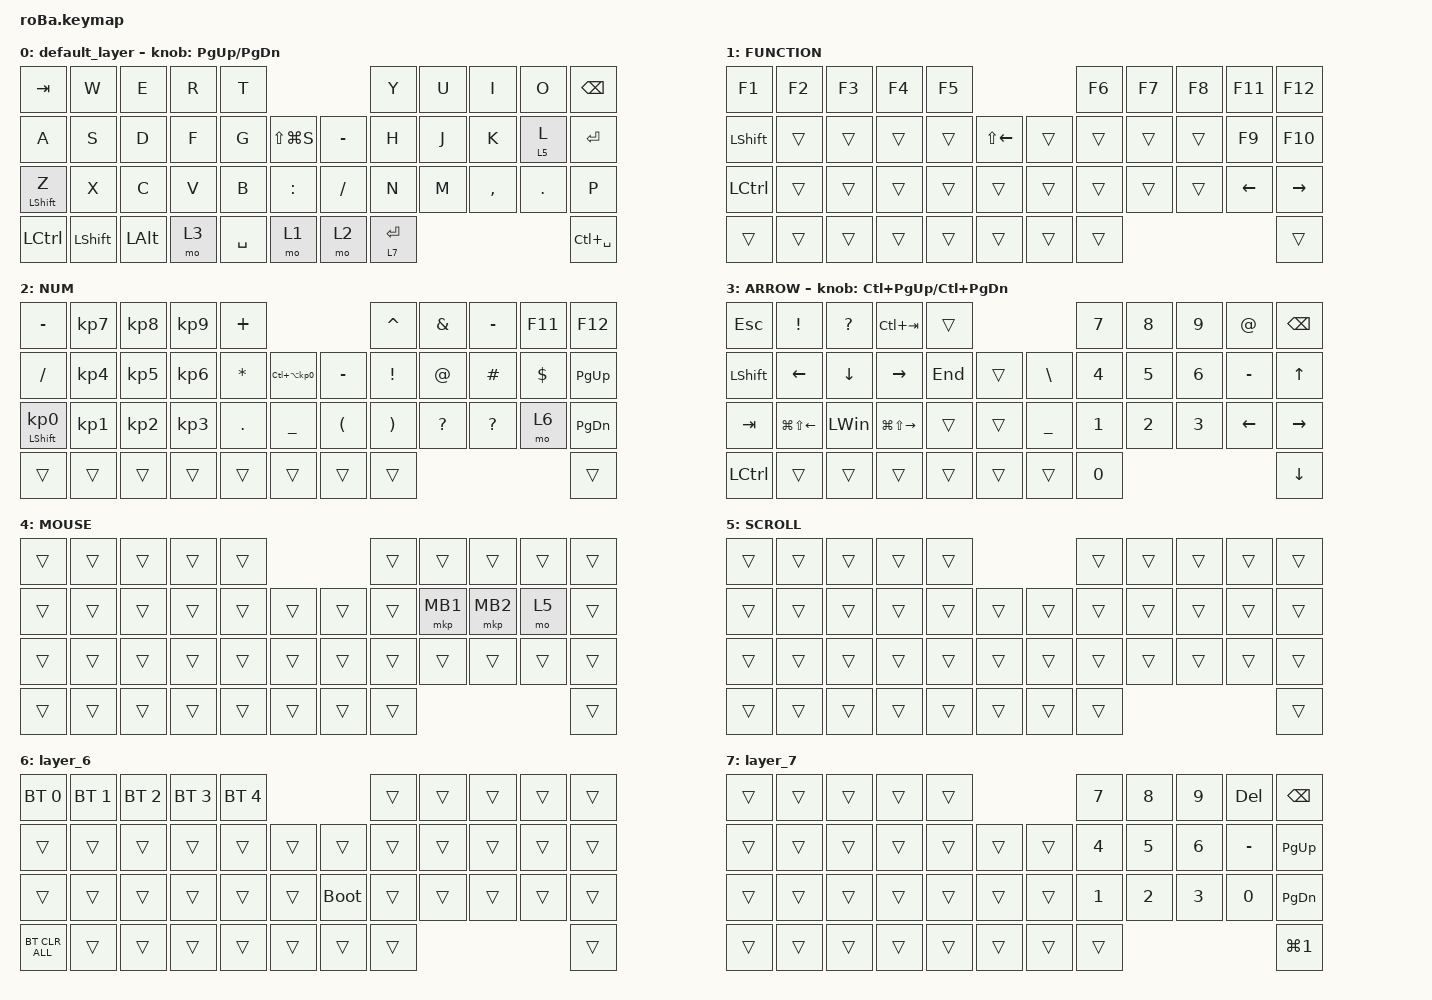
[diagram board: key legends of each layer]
#include <behaviors.dtsi>
#include <dt-bindings/zmk/bt.h>
#include <dt-bindings/zmk/keys.h>
#include <dt-bindings/zmk/pointing.h>

&mt {
    flavor = "balanced";
    quick-tap-ms = <0>;
};

&trackball {
    scroll-layers = <5>;

    // arrows {
    //     layers = <3>;
    //     bindings =
    //         <&kp RIGHT_ARROW>,
    //         <&kp LEFT_ARROW>,
    //         <&kp UP_ARROW>,
    //         <&kp DOWN_ARROW>;
    //     tick = <10>;
    //     wait-ms = <5>;
    //     tap-ms = <5>;
    // };
};

/ {
    combos {
        compatible = "zmk,combos";

        Lcrick {
            bindings = <&mkp MB1>;
            key-positions = <18 19>;
        };

        Rcrick {
            bindings = <&mkp MB2>;
            key-positions = <19 20>;
        };

        space {
            bindings = <&kp SPACE>;
            key-positions = <10 11>;
        };

        F1combo {
            bindings = <&kp F1>;
            key-positions = <12 14>;
        };

        F2combo {
            bindings = <&kp F2>;
            key-positions = <12 26>;
        };

        Pcombo {
            bindings = <&kp P>;
            key-positions = <8 21>;
        };

        qcombo {
            bindings = <&kp Q>;
            key-positions = <1 10>;
        };
    };

    macros {
        to_layer_0: to_layer_0 {
            compatible = "zmk,behavior-macro-one-param";
            #binding-cells = <1>;
            bindings = <&to 0 &macro_param_1to1 &kp MACRO_PLACEHOLDER>;
            label = "TO_LAYER_0";
        };
    };

    behaviors {
        lt_to_layer_0: lt_to_layer_0 {
            compatible = "zmk,behavior-hold-tap";
            label = "LAYER_TAP_TO_0";
            bindings = <&mo>, <&to_layer_0>;

            #binding-cells = <2>;
            tapping-term-ms = <200>;
        };
    };

    keymap {
        compatible = "zmk,keymap";

        default_layer {
            bindings = <
&kp TAB           &kp W           &kp E         &kp R  &kp T                                    &kp Y        &kp U  &kp I      &kp O    &kp BACKSPACE
&kp A             &kp S           &kp D         &kp F  &kp G      &kp LS(LG(S))      &kp MINUS  &kp H        &kp J  &kp K      &lt 5 L  &kp ENTER
&mt LEFT_SHIFT Z  &kp X           &kp C         &kp V  &kp B      &kp COLON          &kp SLASH  &kp N        &kp M  &kp COMMA  &kp DOT  &kp P
&kp LCTRL         &kp LEFT_SHIFT  &kp LEFT_ALT  &mo 3  &kp SPACE  &mo 1              &mo 2      &lt 7 ENTER                             &kp LC(SPACE)
            >;

            sensor-bindings = <&inc_dec_kp PG_UP PAGE_DOWN>;
        };

        FUNCTION {
            bindings = <
&kp F1          &kp F2  &kp F3  &kp F4  &kp F5                                  &kp F6  &kp F7  &kp F8  &kp F11         &kp F12
&kp LEFT_SHIFT  &trans  &trans  &trans  &trans  &kp LS(LEFT_ARROW)      &trans  &trans  &trans  &trans  &kp F9          &kp F10
&kp LCTRL       &trans  &trans  &trans  &trans  &trans                  &trans  &trans  &trans  &trans  &kp LEFT_ARROW  &kp RIGHT
&trans          &trans  &trans  &trans  &trans  &trans                  &trans  &trans                                  &trans
            >;
        };

        NUM {
            bindings = <
&kp MINUS                   &kp KP_NUMBER_7  &kp KP_NUMBER_8  &kp KP_NUMBER_9  &kp PLUS                                                         &kp CARET              &kp AMPERSAND  &kp MINUS     &kp F11     &kp F12
&kp SLASH                   &kp KP_NUMBER_4  &kp KP_NUMBER_5  &kp KP_NUMBER_6  &kp ASTERISK  &kp LC(LA(KP_NUMBER_0))      &kp MINUS             &kp EXCLAMATION        &kp AT_SIGN    &kp HASH      &kp DOLLAR  &kp PAGE_UP
&mt LEFT_SHIFT KP_NUMBER_0  &kp KP_NUMBER_1  &kp KP_NUMBER_2  &kp KP_NUMBER_3  &kp PERIOD    &kp UNDER                    &kp LEFT_PARENTHESIS  &kp RIGHT_PARENTHESIS  &kp QUESTION   &kp QUESTION  &mo 6       &kp PAGE_DOWN
&trans                      &trans           &trans           &trans           &trans        &trans                       &trans                &trans                                                          &trans
            >;
        };

        ARROW {
            bindings = <
&kp ESCAPE      &kp EXCLAMATION         &kp QUESTION    &kp LC(TAB)              &trans                              &kp N7        &kp N8        &kp N9        &kp AT_SIGN     &kp BACKSPACE
&kp LEFT_SHIFT  &kp LEFT_ARROW          &kp DOWN_ARROW  &kp RIGHT_ARROW          &kp END  &trans      &kp BACKSLASH  &kp NUMBER_4  &kp N5        &kp NUMBER_6  &kp MINUS       &kp UP_ARROW
&kp TAB         &kp LG(LS(LEFT_ARROW))  &kp LEFT_WIN    &kp LG(LS(RIGHT_ARROW))  &trans   &trans      &kp UNDER      &kp NUMBER_1  &kp NUMBER_2  &kp NUMBER_3  &kp LEFT_ARROW  &kp RIGHT
&kp LCTRL       &trans                  &trans          &trans                   &trans   &trans      &trans         &kp N0                                                    &kp DOWN_ARROW
            >;

            sensor-bindings = <&inc_dec_kp LC(PAGE_UP) LC(PAGE_DOWN)>;
        };

        MOUSE {
            bindings = <
&trans  &trans  &trans  &trans  &trans                      &trans  &trans    &trans    &trans  &trans
&trans  &trans  &trans  &trans  &trans  &trans      &trans  &trans  &mkp MB1  &mkp MB2  &mo 5   &trans
&trans  &trans  &trans  &trans  &trans  &trans      &trans  &trans  &trans    &trans    &trans  &trans
&trans  &trans  &trans  &trans  &trans  &trans      &trans  &trans                              &trans
            >;
        };

        SCROLL {
            bindings = <
&trans  &trans  &trans  &trans  &trans                      &trans  &trans  &trans  &trans  &trans
&trans  &trans  &trans  &trans  &trans  &trans      &trans  &trans  &trans  &trans  &trans  &trans
&trans  &trans  &trans  &trans  &trans  &trans      &trans  &trans  &trans  &trans  &trans  &trans
&trans  &trans  &trans  &trans  &trans  &trans      &trans  &trans                          &trans
            >;
        };

        layer_6 {
            bindings = <
&bt BT_SEL 0    &bt BT_SEL 1  &bt BT_SEL 2  &bt BT_SEL 3  &bt BT_SEL 4                           &trans  &trans  &trans  &trans  &trans
&trans          &trans        &trans        &trans        &trans        &trans      &trans       &trans  &trans  &trans  &trans  &trans
&trans          &trans        &trans        &trans        &trans        &trans      &bootloader  &trans  &trans  &trans  &trans  &trans
&bt BT_CLR_ALL  &trans        &trans        &trans        &trans        &trans      &trans       &trans                          &trans
            >;
        };

        layer_7 {
            bindings = <
&trans  &trans  &trans  &trans  &trans                      &kp N7        &kp N8        &kp N9        &kp DELETE  &kp BACKSPACE
&trans  &trans  &trans  &trans  &trans  &trans      &trans  &kp NUMBER_4  &kp N5        &kp NUMBER_6  &kp MINUS   &kp PAGE_UP
&trans  &trans  &trans  &trans  &trans  &trans      &trans  &kp NUMBER_1  &kp NUMBER_2  &kp NUMBER_3  &kp N0      &kp PAGE_DOWN
&trans  &trans  &trans  &trans  &trans  &trans      &trans  &trans                                                &kp LG(NUMBER_1)
            >;
        };
    };
};
